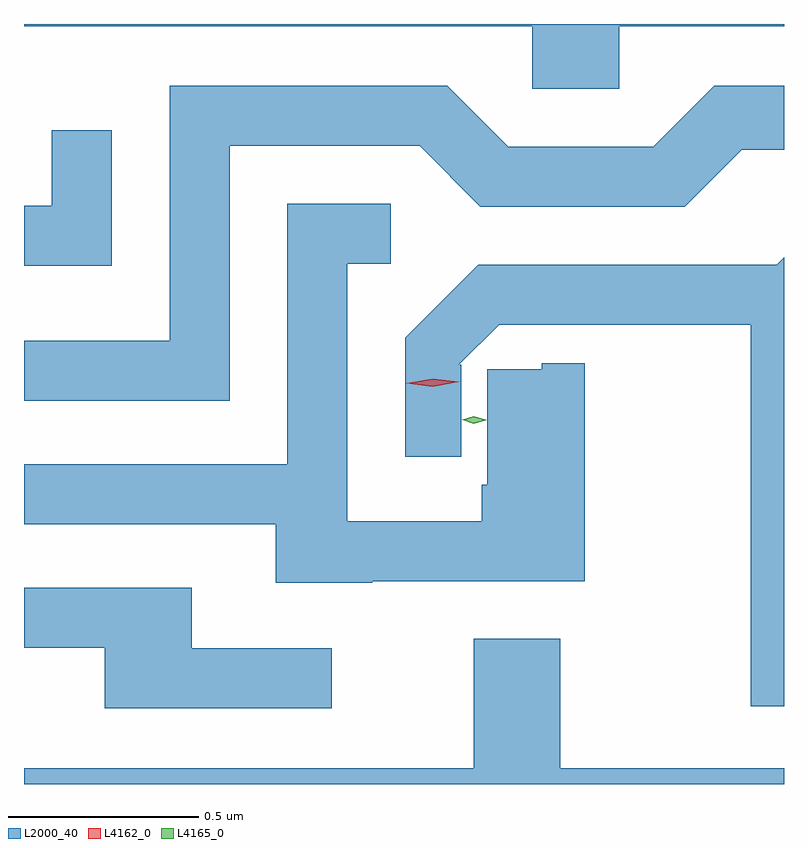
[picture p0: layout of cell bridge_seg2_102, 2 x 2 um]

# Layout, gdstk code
import gdstk
lib = gdstk.Library(unit=1e-6, precision=1e-09)
def P(c, l, *ps):  # polygons
    for p in ps: c.add(gdstk.Polygon(p, *l))
L2000_40 = (2000, 40)
L4162_0 = (4162, 0)
L4165_0 = (4165, 0)

bridge_seg2_102 = lib.new_cell('bridge_seg2_102')
P(bridge_seg2_102, L2000_40, [(1232.074,1008.356),(1232.508,1008.356),(1232.508,1008.362),(1230.508,1008.362),(1230.508,1008.356),(1231.846,1008.356),(1231.846,1008.191),(1232.074,1008.191)],
  [(1231.049,1008.041),(1231.549,1008.041),(1231.709,1007.881),(1232.247,1007.881),(1232.397,1008.031),(1232.508,1008.031),(1232.508,1008.199),(1232.324,1008.199),(1232.164,1008.039),(1231.782,1008.039),(1231.622,1008.199),(1230.891,1008.199),(1230.891,1007.529),(1230.508,1007.529),(1230.508,1007.371),(1231.049,1007.371)],
  [(1230.739,1008.083),(1230.581,1008.083),(1230.581,1007.884),(1230.508,1007.884),(1230.508,1007.726),(1230.739,1007.726)],
  [(1231.425,1006.896),(1231.984,1006.896),(1231.984,1007.469),(1231.87,1007.469),(1231.87,1007.453),(1231.727,1007.453),(1231.727,1007.15),(1231.713,1007.15),(1231.713,1007.054),(1231.359,1007.054),(1231.359,1007.731),(1231.473,1007.731),(1231.473,1007.889),(1231.201,1007.889),(1231.201,1007.204),(1230.508,1007.204),(1230.508,1007.046),(1231.171,1007.046),(1231.171,1006.891),(1231.425,1006.891)],
  [(1232.508,1007.748),(1232.489,1007.729),(1231.704,1007.729),(1231.511,1007.537),(1231.511,1007.223),(1231.659,1007.223),(1231.659,1007.465),(1231.652,1007.465),(1231.758,1007.571),(1232.421,1007.571),(1232.421,1006.566),(1232.508,1006.566)],
  [(1231.318,1006.719),(1230.949,1006.719),(1230.949,1006.879),(1230.508,1006.879),(1230.508,1006.721),(1230.721,1006.721),(1230.721,1006.561),(1231.318,1006.561)],
  [(1232.508,1006.404),(1231.919,1006.404),(1231.919,1006.744),(1231.691,1006.744),(1231.691,1006.404),(1230.508,1006.404),(1230.508,1006.362),(1232.508,1006.362)])
P(bridge_seg2_102, L4162_0, [(1231.584,1007.408),(1231.514,1007.416),(1231.513,1007.416),(1231.514,1007.417),(1231.583,1007.428),(1231.653,1007.421),(1231.654,1007.42),(1231.653,1007.42)])
P(bridge_seg2_102, L4165_0, [(1231.692,1007.31),(1231.661,1007.32),(1231.66,1007.32),(1231.661,1007.32),(1231.692,1007.33),(1231.723,1007.32),(1231.724,1007.32),(1231.723,1007.319)],
  [(1231.692,1007.31),(1231.664,1007.32),(1231.663,1007.32),(1231.664,1007.32),(1231.692,1007.33),(1231.721,1007.32),(1231.722,1007.32),(1231.721,1007.319)])

lib.write_gds('bridge_seg2_102.gds')
